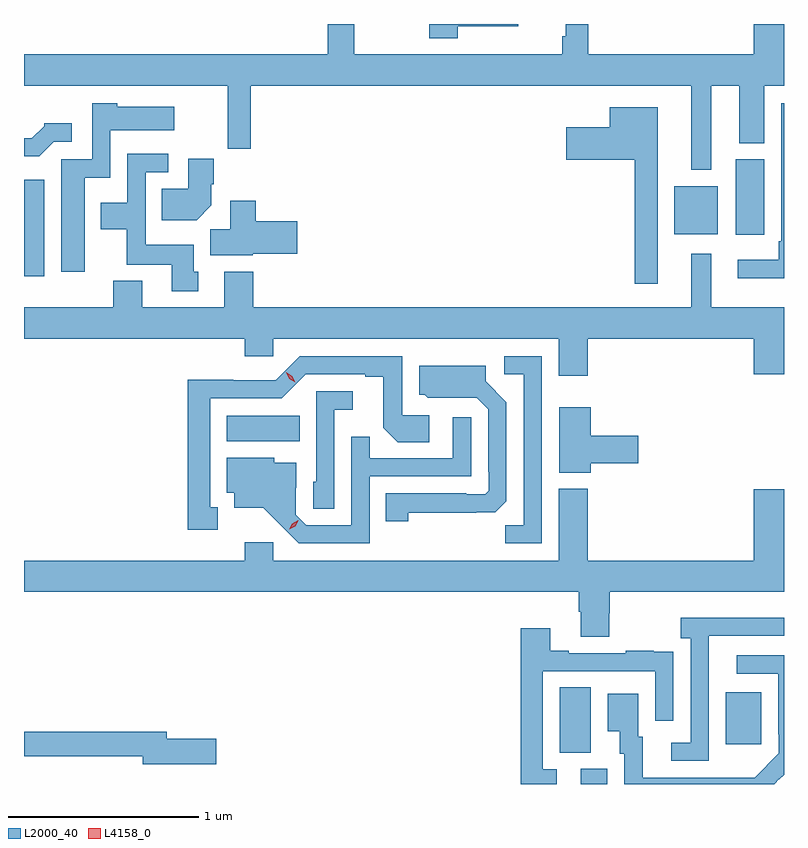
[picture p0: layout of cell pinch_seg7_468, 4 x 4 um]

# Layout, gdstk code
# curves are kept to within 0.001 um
import gdstk
lib = gdstk.Library(unit=1e-6, precision=1e-09)
def R(c, l, rs):  # rectangles x0, y0, x1, y1
    for r in rs: c.add(gdstk.rectangle(r[:2], r[2:], *l))
def P(c, l, *ps):  # polygons
    for p in ps: c.add(gdstk.Polygon(p, *l))
L2000_40 = (2000, 40)
L4158_0 = (4158, 0)

pinch_seg7_468 = lib.new_cell('pinch_seg7_468')
R(pinch_seg7_468, L2000_40, [(236.027,1072.864,236.167,1072.944), (235.916,1073.029,236.08,1073.372), (236.789,1073.073,236.977,1073.347), (234.164,1074.668,234.548,1074.802), (233.096,1075.536,233.203,1076.044), (236.843,1075.755,236.992,1076.151), (236.519,1075.757,236.746,1076.011)])
P(pinch_seg7_468, L2000_40, [(236.713,1076.54),(236.861,1076.54),(236.861,1076.236),(236.992,1076.236),(236.992,1076.54),(237.096,1076.54),(237.096,1076.864),(236.936,1076.864),(236.936,1076.704),(236.066,1076.704),(236.066,1076.864),(235.948,1076.864),(235.948,1076.8),(235.93,1076.8),(235.93,1076.704),(234.835,1076.704),(234.835,1076.864),(234.695,1076.864),(234.695,1076.704),(233.096,1076.704),(233.096,1076.54),(234.169,1076.54),(234.169,1076.208),(234.29,1076.208),(234.29,1076.54),(236.609,1076.54),(236.609,1076.096),(236.713,1076.096)],
  [(235.379,1076.852),(235.696,1076.852),(235.696,1076.864),(235.23,1076.864),(235.23,1076.79),(235.379,1076.79)],
  [(233.416,1076.054),(233.55,1076.054),(233.55,1076.306),(233.887,1076.306),(233.887,1076.428),(233.586,1076.428),(233.586,1076.446),(233.454,1076.446),(233.454,1076.151),(233.291,1076.151),(233.291,1075.56),(233.416,1075.56)],
  [(237.096,1076.446),(237.081,1076.446),(237.081,1075.72),(237.069,1075.72),(237.069,1075.624),(236.853,1075.624),(236.853,1075.526),(237.096,1075.526)],
  [(236.431,1076.425),(236.18,1076.425),(236.18,1076.32),(235.95,1076.32),(235.95,1076.15),(236.31,1076.15),(236.31,1075.497),(236.431,1075.497)],
  [(233.253,1076.244),(233.347,1076.244),(233.347,1076.341),(233.202,1076.341),(233.202,1076.326),(233.138,1076.262),(233.096,1076.262),(233.096,1076.168),(233.177,1076.168)],
  [(234.013,1075.56),(233.989,1075.56),(233.989,1075.702),(233.736,1075.702),(233.736,1076.085),(233.854,1076.085),(233.854,1076.181),(233.64,1076.181),(233.64,1075.924),(233.501,1075.924),(233.501,1075.784),(233.638,1075.784),(233.638,1075.598),(233.873,1075.598),(233.873,1075.458),(234.013,1075.458)],
  [(234.082,1075.91),(234.082,1076.02),(234.095,1076.02),(234.095,1076.155),(233.96,1076.155),(233.96,1075.996),(233.821,1075.996),(233.821,1075.832),(234.004,1075.832)],
  [(234.3,1075.655),(234.535,1075.655),(234.535,1075.826),(234.317,1075.826),(234.317,1075.933),(234.182,1075.933),(234.182,1075.784),(234.077,1075.784),(234.077,1075.646),(234.3,1075.646)],
  [(236.063,1075.208),(236.936,1075.208),(236.936,1075.02),(237.096,1075.02),(237.096,1075.372),(236.713,1075.372),(236.713,1075.654),(236.609,1075.654),(236.609,1075.372),(234.302,1075.372),(234.302,1075.561),(234.149,1075.561),(234.149,1075.372),(233.719,1075.372),(233.719,1075.513),(233.567,1075.513),(233.567,1075.372),(233.096,1075.372),(233.096,1075.208),(234.257,1075.208),(234.257,1075.115),(234.408,1075.115),(234.408,1075.208),(235.91,1075.208),(235.91,1075.014),(236.063,1075.014)],
  [(235.821,1075.116),(235.623,1075.116),(235.623,1075.02),(235.725,1075.02),(235.725,1074.227),(235.63,1074.227),(235.63,1074.132),(235.821,1074.132)],
  [(234.115,1074.321),(234.076,1074.321),(234.076,1074.894),(234.453,1074.894),(234.579,1075.02),(234.893,1075.02),(234.893,1075.008),(234.987,1075.008),(234.987,1074.74),(235.063,1074.664),(235.228,1074.664),(235.228,1074.804),(235.086,1074.804),(235.086,1075.116),(234.546,1075.116),(234.42,1074.99),(234.198,1074.99),(234.198,1074.992),(233.958,1074.992),(233.958,1074.201),(234.115,1074.201)],
  [(235.119,1074.292),(235.576,1074.293),(235.635,1074.352),(235.635,1074.874),(235.525,1074.984),(235.525,1075.066),(235.175,1075.066),(235.175,1074.912),(235.206,1074.912),(235.222,1074.896),(235.479,1074.897),(235.539,1074.837),(235.539,1074.508),(235.542,1074.508),(235.542,1074.408),(235.524,1074.39),(235.424,1074.39),(235.424,1074.393),(235,1074.393),(235,1074.246),(235.119,1074.246)],
  [(234.729,1074.833),(234.826,1074.833),(234.826,1074.93),(234.633,1074.93),(234.633,1074.456),(234.618,1074.456),(234.618,1074.313),(234.729,1074.313)],
  [(236.08,1074.551),(236.329,1074.551),(236.329,1074.698),(236.08,1074.698),(236.08,1074.847),(235.913,1074.847),(235.913,1074.503),(236.08,1074.503)],
  [(234.915,1074.483),(235.449,1074.483),(235.449,1074.793),(235.353,1074.793),(235.353,1074.579),(234.917,1074.579),(234.917,1074.692),(234.819,1074.692),(234.819,1074.225),(234.582,1074.225),(234.525,1074.282),(234.525,1074.424),(234.529,1074.424),(234.529,1074.556),(234.414,1074.556),(234.414,1074.58),(234.164,1074.58),(234.164,1074.398),(234.203,1074.398),(234.203,1074.317),(234.355,1074.317),(234.542,1074.132),(234.915,1074.132)],
  [(236.175,1073.763),(236.18,1073.763),(236.18,1073.876),(237.096,1073.876),(237.096,1074.415),(236.936,1074.415),(236.936,1074.04),(236.063,1074.04),(236.063,1074.418),(235.91,1074.418),(235.91,1074.04),(234.408,1074.04),(234.408,1074.136),(234.257,1074.136),(234.257,1074.04),(233.096,1074.04),(233.096,1073.876),(236.015,1073.876),(236.015,1073.77),(236.027,1073.77),(236.027,1073.638),(236.175,1073.638)],
  [(236.7,1073.443),(236.701,1073.443),(236.701,1073.643),(237.096,1073.643),(237.096,1073.74),(236.553,1073.74),(236.553,1073.63),(236.604,1073.63),(236.604,1073.082),(236.502,1073.082),(236.502,1072.986),(236.7,1072.986)],
  [(235.9,1072.941),(235.827,1072.941),(235.827,1073.457),(236.418,1073.457),(236.418,1073.196),(236.514,1073.196),(236.514,1073.45),(236.513,1073.45),(236.513,1073.559),(236.411,1073.559),(236.411,1073.566),(236.263,1073.566),(236.263,1073.553),(235.963,1073.553),(235.963,1073.566),(235.867,1073.566),(235.867,1073.683),(235.711,1073.683),(235.711,1072.864),(235.9,1072.864)],
  [(237.071,1072.891),(237.072,1072.89),(237.096,1072.914),(237.096,1073.541),(236.847,1073.541),(236.847,1073.445),(237.066,1073.445),(237.066,1073.125),(237.069,1073.125),(237.069,1073.025),(236.941,1072.897),(236.353,1072.896),(236.353,1073.112),(236.329,1073.112),(236.329,1073.338),(236.168,1073.338),(236.168,1073.141),(236.231,1073.141),(236.231,1073.022),(236.256,1073.022),(236.256,1072.864),(237.044,1072.864)],
  [(234.109,1073.102),(233.848,1073.102),(233.848,1073.138),(233.096,1073.138),(233.096,1073.01),(233.72,1073.01),(233.72,1072.967),(234.109,1072.967)])
P(pinch_seg7_468, L4158_0, [(234.492,1074.205),(234.492,1074.206),(234.509,1074.235),(234.539,1074.251),(234.54,1074.251),(234.54,1074.25),(234.523,1074.221),(234.493,1074.205)],
  [(234.524,1074.979),(234.492,1074.997),(234.475,1075.03),(234.475,1075.03),(234.475,1075.03),(234.507,1075.011),(234.524,1074.979),(234.524,1074.979)])

lib.write_gds('pinch_seg7_468.gds')
